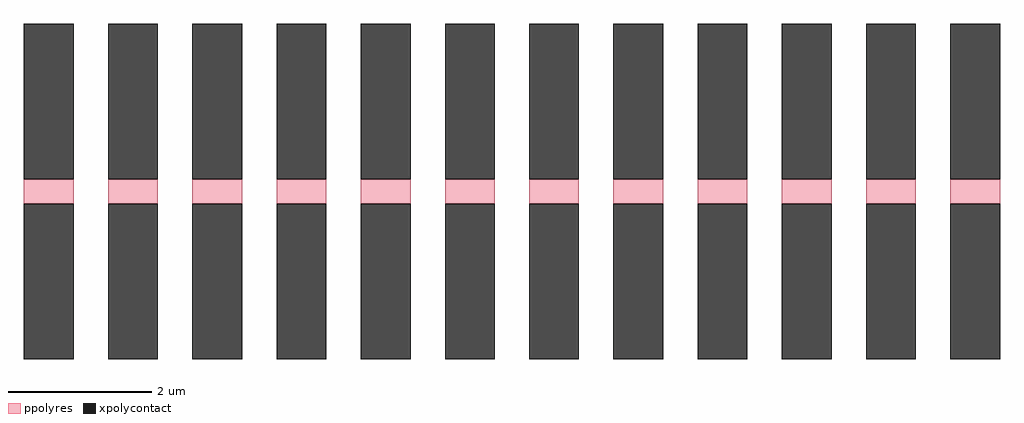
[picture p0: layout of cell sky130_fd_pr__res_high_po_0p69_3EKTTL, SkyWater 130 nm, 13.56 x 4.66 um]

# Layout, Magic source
magic
tech sky130A
<< xpolycontact >>
rect -678 17 -609 233
rect -678 -233 -609 -17
rect -561 17 -492 233
rect -561 -233 -492 -17
rect -444 17 -375 233
rect -444 -233 -375 -17
rect -327 17 -258 233
rect -327 -233 -258 -17
rect -210 17 -141 233
rect -210 -233 -141 -17
rect -93 17 -24 233
rect -93 -233 -24 -17
rect 24 17 93 233
rect 24 -233 93 -17
rect 141 17 210 233
rect 141 -233 210 -17
rect 258 17 327 233
rect 258 -233 327 -17
rect 375 17 444 233
rect 375 -233 444 -17
rect 492 17 561 233
rect 492 -233 561 -17
rect 609 17 678 233
rect 609 -233 678 -17
<< ppolyres >>
rect -678 -17 -609 17
rect -561 -17 -492 17
rect -444 -17 -375 17
rect -327 -17 -258 17
rect -210 -17 -141 17
rect -93 -17 -24 17
rect 24 -17 93 17
rect 141 -17 210 17
rect 258 -17 327 17
rect 375 -17 444 17
rect 492 -17 561 17
rect 609 -17 678 17
<< properties >>
string gencell sky130_fd_pr__res_high_po_0p69
string library sky130
string parameters w 0.690 l 0.50 m 1 nx 12 wmin 0.690 lmin 0.50 rho 319.8 val 1.57k dummy 0 dw 0.0 term 194.82 sterm 0.0 caplen 0 guard 0 glc 0 grc 0 gtc 0 gbc 0 compatible {sky130_fd_pr__res_high_po_0p35  sky130_fd_pr__res_high_po_0p69 sky130_fd_pr__res_high_po_1p41  sky130_fd_pr__res_high_po_2p85 sky130_fd_pr__res_high_po_5p73} snake 0 full_metal 1 wmax 0.690 n_guard 0 hv_guard 0 vias 0 viagb 0 viagt 0 viagl 0 viagr 0
<< end >>
